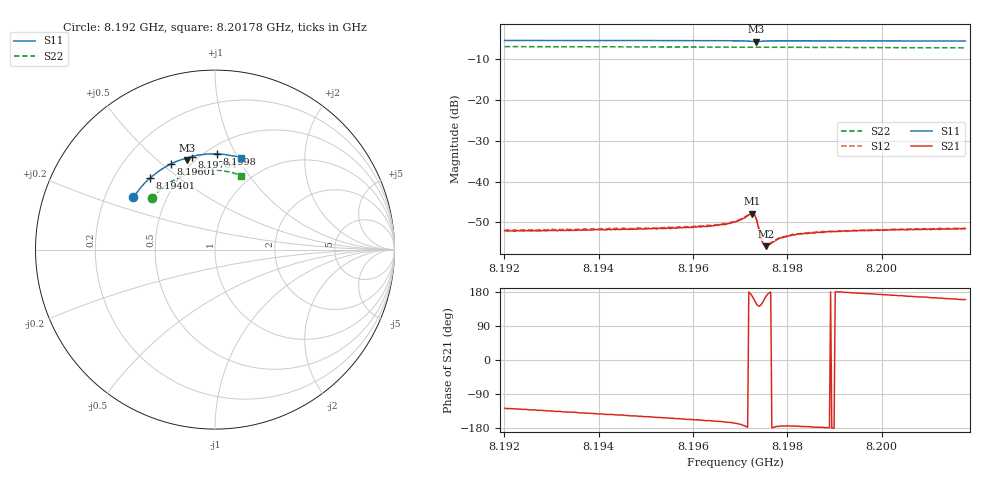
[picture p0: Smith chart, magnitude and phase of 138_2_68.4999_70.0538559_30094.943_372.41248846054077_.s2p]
#  HZ  S  RI  R  50.00
! Rohde & Schwarz Vector Network Analyzer
! Rohde-Schwarz,ZNB20-2Port,1311601062101988,3.16
! Created: UTC 3/20/2024, 5:09:54 PM
! freq[Hz]  re:S11  im:S11  re:S21  im:S21  re:S12  im:S12  re:S22  im:S22
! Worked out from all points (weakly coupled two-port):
!   401 points, 8.192 GHz to 8.20178 GHz, reference 50 ohm
!   highest |S21| = -47.85 dB at 8.19726 GHz (marker M1); lowest = -55.8 dB at 8.19755 GHz (marker M2)
!   lowest |S11| = -5.7 dB at 8.19733 GHz (marker M3), VSWR 3.18, Z = 23 + j31.3 ohm
!   |S11| at or under -10 dB: nowhere
!   |S22| runs from -7.2 to -6.9 dB; largest |S21 - S12| = 0.00022
!   S11 on the Smith chart (normalised r, x): 8.192 GHz: 0.32, +0.26; 8.19401 GHz: 0.35, +0.39; 8.19601 GHz: 0.40, +0.54; 8.19784 GHz: 0.46, +0.67; 8.1998 GHz: 0.57, +0.84; 8.20178 GHz: 0.73, +1.03
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8.192004e9  -0.4549 0.2906  -0.00151 -0.00199  -0.00158 -0.00197  -0.3532 0.2852
8.193641e9  -0.3823 0.3798  -0.00194 -0.00165  -0.00205 -0.0016  -0.2876 0.3484
8.194007e9  -0.3634 0.3976  -0.00204 -0.00156  -0.00211 -0.00156  -0.2712 0.3606
8.195278e9  -0.2919 0.4515  -0.00235 -0.00127  -0.00246 -0.00118  -0.2101 0.3972
8.196011e9  -0.2466 0.4769  -0.00256 -0.00103  -0.00265 -0.000997  -0.1724 0.4137
8.196671e9  -0.2028 0.496  -0.00283 -0.000856  -0.00294 -0.000767  -0.1372 0.4256
8.196891e9  -0.1871 0.5013  -0.0031 -0.000719  -0.0032 -0.000633  -0.1253 0.4289
8.197208e9  -0.1608 0.5034  -0.00396 0.000258  -0.00403 0.000414  -0.1076 0.4328
8.197257e9  -0.1575 0.5011  -0.00396 0.000845  -0.00401 0.000997  -0.105 0.4333
8.197306e9  -0.1564 0.4979  -0.00357 0.0015  -0.0036 0.00167  -0.1025 0.4338
8.197331e9  -0.157 0.4968  -0.00319 0.00174  -0.00318 0.00191  -0.1011 0.434
8.197355e9  -0.1582 0.4969  -0.00271 0.00182  -0.0027 0.00194  -0.0997 0.4343
8.197453e9  -0.1586 0.5035  -0.00164 0.00104  -0.00159 0.00111  -0.0945 0.4355
8.197502e9  -0.1559 0.5069  -0.00156 0.000639  -0.00155 0.00071  -0.0919 0.4361
8.197551e9  -0.1523 0.5098  -0.00158 0.000327  -0.00161 0.000425  -0.0892 0.4366
8.197844e9  -0.1302 0.5187  -0.00204 -0.000197  -0.00208 -9.51e-05  -0.0726 0.4392
8.19821e9  -0.1035 0.5246  -0.00225 -0.000199  -0.00229 -0.000122  -0.0521 0.4417
8.198528e9  -0.081 0.5285  -0.00233 -0.000159  -0.00242 -4.49e-05  -0.0341 0.4427
8.198846e9  -0.0585 0.5311  -0.00241 -6.68e-05  -0.00246 4.08e-05  -0.0161 0.4431
8.199799e9  0.00921 0.5333  -0.0025 0.000235  -0.00253 0.000365  0.0381 0.44
8.200165e9  0.0351 0.5318  -0.00252 0.000374  -0.00254 0.00048  0.0588 0.437
8.201778e9  0.1469 0.5103  -0.00249 0.000914  -0.00246 0.00107  0.1473 0.4123
